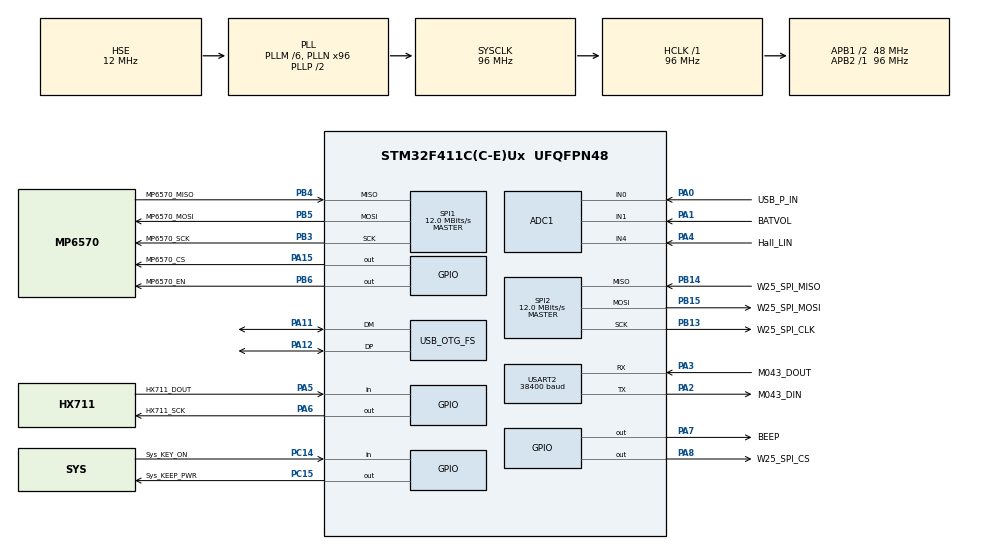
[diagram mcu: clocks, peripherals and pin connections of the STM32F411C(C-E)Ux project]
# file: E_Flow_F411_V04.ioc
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ADC1.Channel-0\#ChannelRegularConversion=ADC_CHANNEL_0
ADC1.Channel-1\#ChannelRegularConversion=ADC_CHANNEL_1
ADC1.Channel-2\#ChannelRegularConversion=ADC_CHANNEL_4
ADC1.ClockPrescaler=ADC_CLOCK_SYNC_PCLK_DIV4
ADC1.ContinuousConvMode=ENABLE
ADC1.NbrOfConversion=3
ADC1.NbrOfConversionFlag=1
ADC1.Rank-0\#ChannelRegularConversion=1
ADC1.Rank-1\#ChannelRegularConversion=2
ADC1.Rank-2\#ChannelRegularConversion=3
ADC1.SamplingTime-0\#ChannelRegularConversion=ADC_SAMPLETIME_480CYCLES
ADC1.SamplingTime-1\#ChannelRegularConversion=ADC_SAMPLETIME_480CYCLES
ADC1.SamplingTime-2\#ChannelRegularConversion=ADC_SAMPLETIME_480CYCLES
ADC1.ScanConvMode=ENABLE
ADC1.master=1
Dma.ADC1.0.Direction=DMA_PERIPH_TO_MEMORY
Dma.ADC1.0.FIFOMode=DMA_FIFOMODE_DISABLE
Dma.ADC1.0.Instance=DMA2_Stream0
Dma.ADC1.0.MemDataAlignment=DMA_MDATAALIGN_HALFWORD
Dma.ADC1.0.MemInc=DMA_MINC_ENABLE
Dma.ADC1.0.Mode=DMA_CIRCULAR
Dma.ADC1.0.PeriphDataAlignment=DMA_PDATAALIGN_HALFWORD
Dma.ADC1.0.PeriphInc=DMA_PINC_DISABLE
Dma.ADC1.0.Priority=DMA_PRIORITY_LOW
Dma.Request0=ADC1
Dma.Request1=USART2_TX
Dma.Request2=USART2_RX
Dma.USART2_RX.2.Direction=DMA_PERIPH_TO_MEMORY
Dma.USART2_RX.2.FIFOMode=DMA_FIFOMODE_DISABLE
Dma.USART2_RX.2.Instance=DMA1_Stream5
Dma.USART2_RX.2.MemDataAlignment=DMA_MDATAALIGN_BYTE
Dma.USART2_RX.2.MemInc=DMA_MINC_ENABLE
Dma.USART2_RX.2.Mode=DMA_NORMAL
Dma.USART2_RX.2.PeriphDataAlignment=DMA_PDATAALIGN_BYTE
Dma.USART2_RX.2.PeriphInc=DMA_PINC_DISABLE
Dma.USART2_RX.2.Priority=DMA_PRIORITY_MEDIUM
Dma.USART2_TX.1.Direction=DMA_MEMORY_TO_PERIPH
Dma.USART2_TX.1.FIFOMode=DMA_FIFOMODE_DISABLE
Dma.USART2_TX.1.Instance=DMA1_Stream6
Dma.USART2_TX.1.MemDataAlignment=DMA_MDATAALIGN_BYTE
Dma.USART2_TX.1.MemInc=DMA_MINC_ENABLE
Dma.USART2_TX.1.Mode=DMA_NORMAL
Dma.USART2_TX.1.PeriphDataAlignment=DMA_PDATAALIGN_BYTE
Dma.USART2_TX.1.PeriphInc=DMA_PINC_DISABLE
Dma.USART2_TX.1.Priority=DMA_PRIORITY_LOW
FREERTOS.MEMORY_ALLOCATION=0
FREERTOS.Tasks01=defaultTask,0,128,StartDefaultTask,Default,NULL,Dynamic,NULL,NULL
Mcu.Family=STM32F4
Mcu.Name=STM32F411C(C-E)Ux
Mcu.Package=UFQFPN48
NVIC.DMA1_Stream5_IRQn=true\:5\:0\:false\:false\:true\:true\:false\:true\:true
NVIC.DMA1_Stream6_IRQn=true\:5\:0\:false\:false\:true\:true\:false\:true\:true
NVIC.DMA2_Stream0_IRQn=true\:5\:0\:false\:false\:true\:true\:false\:true\:true
NVIC.OTG_FS_IRQn=true\:5\:0\:false\:false\:true\:true\:true\:true\:true
NVIC.PriorityGroup=NVIC_PRIORITYGROUP_4
NVIC.TIM1_UP_TIM10_IRQn=true\:0\:0\:true\:false\:true\:false\:false\:true\:true
NVIC.TIM2_IRQn=true\:5\:0\:false\:false\:true\:true\:true\:true\:true
NVIC.TimeBase=TIM1_UP_TIM10_IRQn
NVIC.TimeBaseIP=TIM1
NVIC.USART2_IRQn=true\:5\:0\:false\:false\:true\:true\:true\:true\:true
NVIC.WWDG_IRQn=true\:5\:0\:false\:false\:true\:true\:true\:true\:true
PA0-WKUP.GPIO_Label=USB_P_IN
PA0-WKUP.Signal=ADCx_IN0
PA1.GPIO_Label=BATVOL
PA1.Signal=ADCx_IN1
PA11.Mode=Device_Only
PA11.Signal=USB_OTG_FS_DM
PA12.Mode=Device_Only
PA12.Signal=USB_OTG_FS_DP
PA13.Mode=Serial_Wire
PA13.Signal=SYS_JTMS-SWDIO
PA14.Mode=Serial_Wire
PA14.Signal=SYS_JTCK-SWCLK
PA15.GPIO_Label=MP6570_CS
PA15.Signal=GPIO_Output
PA2.GPIO_Label=M043_DIN
PA2.Mode=Asynchronous
PA2.Signal=USART2_TX
PA3.GPIO_Label=M043_DOUT
PA3.Mode=Asynchronous
PA3.Signal=USART2_RX
PA4.GPIO_Label=Hall_LIN
PA4.Signal=ADCx_IN4
PA5.GPIO_Label=HX711_DOUT
PA5.Signal=GPIO_Input
PA6.GPIO_Label=HX711_SCK
PA6.Signal=GPIO_Output
PA7.GPIO_Label=BEEP
PA7.Signal=GPIO_Output
PA8.GPIO_Label=W25_SPI_CS
PA8.Signal=GPIO_Output
PB13.GPIO_Label=W25_SPI_CLK
PB13.Mode=Full_Duplex_Master
PB13.Signal=SPI2_SCK
PB14.GPIO_Label=W25_SPI_MISO
PB14.Mode=Full_Duplex_Master
PB14.Signal=SPI2_MISO
PB15.GPIO_Label=W25_SPI_MOSI
PB15.Mode=Full_Duplex_Master
PB15.Signal=SPI2_MOSI
PB3.GPIO_Label=MP6570_SCK
PB3.Mode=Full_Duplex_Master
PB3.Signal=SPI1_SCK
PB4.GPIO_Label=MP6570_MISO
PB4.Mode=Full_Duplex_Master
PB4.Signal=SPI1_MISO
PB5.GPIO_Label=MP6570_MOSI
PB5.Mode=Full_Duplex_Master
PB5.Signal=SPI1_MOSI
PB6.GPIO_Label=MP6570_EN
PB6.PinState=GPIO_PIN_SET
PB6.Signal=GPIO_Output
PC14-OSC32_IN.GPIO_Label=Sys_KEY_ON
PC14-OSC32_IN.Signal=GPIO_Input
PC15-OSC32_OUT.GPIO_Label=Sys_KEEP_PWR
PC15-OSC32_OUT.PinState=GPIO_PIN_SET
PC15-OSC32_OUT.Signal=GPIO_Output
PH0\ -\ OSC_IN.Mode=HSE-External-Oscillator
PH0\ -\ OSC_IN.Signal=RCC_OSC_IN
PH1\ -\ OSC_OUT.Mode=HSE-External-Oscillator
PH1\ -\ OSC_OUT.Signal=RCC_OSC_OUT
ProjectManager.HeapSize=0x4000
ProjectManager.StackSize=0x4000
ProjectManager.TargetToolchain=MDK-ARM V5.27
RCC.48MHZClocksFreq_Value=48000000
RCC.AHBFreq_Value=96000000
RCC.APB1CLKDivider=RCC_HCLK_DIV2
RCC.APB1Freq_Value=48000000
RCC.APB1TimFreq_Value=96000000
RCC.APB2Freq_Value=96000000
RCC.APB2TimFreq_Value=96000000
RCC.CortexFreq_Value=96000000
RCC.HCLKFreq_Value=96000000
RCC.HSE_VALUE=12000000
RCC.HSI_VALUE=16000000
RCC.LSE_VALUE=32768
RCC.PLLM=6
RCC.PLLN=96
RCC.SYSCLKFreq_VALUE=96000000
RCC.SYSCLKSource=RCC_SYSCLKSOURCE_PLLCLK
RCC.VCOOutputFreq_Value=192000000
SH.ADCx_IN0.0=ADC1_IN0,IN0
SH.ADCx_IN1.0=ADC1_IN1,IN1
SH.ADCx_IN4.0=ADC1_IN4,IN4
SPI1.BaudRatePrescaler=SPI_BAUDRATEPRESCALER_8
SPI1.CLKPhase=SPI_PHASE_2EDGE
SPI1.CLKPolarity=SPI_POLARITY_HIGH
SPI1.CalculateBaudRate=12.0 MBits/s
SPI1.Direction=SPI_DIRECTION_2LINES
SPI1.Mode=SPI_MODE_MASTER
SPI1.VirtualType=VM_MASTER
SPI2.BaudRatePrescaler=SPI_BAUDRATEPRESCALER_4
SPI2.CLKPhase=SPI_PHASE_2EDGE
SPI2.CLKPolarity=SPI_POLARITY_HIGH
SPI2.CalculateBaudRate=12.0 MBits/s
SPI2.Direction=SPI_DIRECTION_2LINES
SPI2.Mode=SPI_MODE_MASTER
SPI2.VirtualType=VM_MASTER
TIM2.Period=100
TIM2.Prescaler=95
USART2.BaudRate=38400
USART2.VirtualMode=VM_ASYNC
USB_DEVICE.CLASS_NAME_FS=CDC
USB_DEVICE.VirtualMode=Cdc
USB_DEVICE.VirtualModeFS=Cdc_FS
USB_OTG_FS.VirtualMode=Device_Only
VP_FREERTOS_VS_CMSIS_V1.Mode=CMSIS_V1
VP_SYS_VS_tim1.Mode=TIM1
VP_TIM2_VS_ClockSourceINT.Mode=Internal
VP_USB_DEVICE_VS_USB_DEVICE_CDC_FS.Mode=CDC_FS
VP_WWDG_VS_WWDG.Mode=WWDG_Activate
WWDG.Counter=127
WWDG.EWIMode=WWDG_EWI_ENABLE
WWDG.Prescaler=WWDG_PRESCALER_8
WWDG.Window=127
board=custom

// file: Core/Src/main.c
/* USER CODE BEGIN Header */
/**
  ******************************************************************************
  * @file           : main.c
  * @brief          : Main program body
  ******************************************************************************
  * @attention
  *
  * Copyright (c) 2022 STMicroelectronics.
  * All rights reserved.
  *
  * This software is licensed under terms that can be found in the LICENSE file
  * in the root directory of this software component.
  * If no LICENSE file comes with this software, it is provided AS-IS.
  *
  ******************************************************************************
  */
/* USER CODE END Header */
#include "main.h"
#include "cmsis_os.h"
#include "adc.h"
#include "dma.h"
#include "spi.h"
#include "tim.h"
#include "usart.h"
#include "usb_device.h"
#include "wwdg.h"
#include "gpio.h"

/* USER CODE BEGIN Includes */
#include "app_main.h"
/* USER CODE END Includes */

void SystemClock_Config(void);
void MX_FREERTOS_Init(void);

int main(void)
{
  /* USER CODE BEGIN 1 */
	Before_HAL_Init();
  /* USER CODE END 1 */

  /* MCU Configuration--------------------------------------------------------*/

  /* Reset of all peripherals, Initializes the Flash interface and the Systick. */
  HAL_Init();

  /* Configure the system clock */
  SystemClock_Config();

  /* Initialize all configured peripherals */
  MX_GPIO_Init();
  MX_DMA_Init();
  MX_ADC1_Init();
  MX_SPI1_Init();
  MX_SPI2_Init();
  MX_TIM2_Init();
  MX_USART2_UART_Init();
//  MX_WWDG_Init();
  /* USER CODE BEGIN 2 */
	app_init();
  /* USER CODE END 2 */

  /* Call init function for freertos objects (in freertos.c) */
  MX_FREERTOS_Init();

  /* Start scheduler */
  osKernelStart();

  /* We should never get here as control is now taken by the scheduler */
  /* Infinite loop */
  while (1)
  {

  }
}

void SystemClock_Config(void)
{
  RCC_OscInitTypeDef RCC_OscInitStruct = {0};
  RCC_ClkInitTypeDef RCC_ClkInitStruct = {0};

  /** Configure the main internal regulator output voltage
  */
  __HAL_RCC_PWR_CLK_ENABLE();
  __HAL_PWR_VOLTAGESCALING_CONFIG(PWR_REGULATOR_VOLTAGE_SCALE1);

  /** Initializes the RCC Oscillators according to the specified parameters
  * in the RCC_OscInitTypeDef structure.
  */
  RCC_OscInitStruct.OscillatorType = RCC_OSCILLATORTYPE_HSE;
  RCC_OscInitStruct.HSEState = RCC_HSE_ON;
  RCC_OscInitStruct.PLL.PLLState = RCC_PLL_ON;
  RCC_OscInitStruct.PLL.PLLSource = RCC_PLLSOURCE_HSE;
  RCC_OscInitStruct.PLL.PLLM = 6;
  RCC_OscInitStruct.PLL.PLLN = 96;
  RCC_OscInitStruct.PLL.PLLP = RCC_PLLP_DIV2;
  RCC_OscInitStruct.PLL.PLLQ = 4;
  if (HAL_RCC_OscConfig(&RCC_OscInitStruct) != HAL_OK)
  {
    Error_Handler();
  }

  /** Initializes the CPU, AHB and APB buses clocks
  */
  RCC_ClkInitStruct.ClockType = RCC_CLOCKTYPE_HCLK|RCC_CLOCKTYPE_SYSCLK
                              |RCC_CLOCKTYPE_PCLK1|RCC_CLOCKTYPE_PCLK2;
  RCC_ClkInitStruct.SYSCLKSource = RCC_SYSCLKSOURCE_PLLCLK;
  RCC_ClkInitStruct.AHBCLKDivider = RCC_SYSCLK_DIV1;
  RCC_ClkInitStruct.APB1CLKDivider = RCC_HCLK_DIV2;
  RCC_ClkInitStruct.APB2CLKDivider = RCC_HCLK_DIV1;

  if (HAL_RCC_ClockConfig(&RCC_ClkInitStruct, FLASH_LATENCY_3) != HAL_OK)
  {
    Error_Handler();
  }
}

void HAL_TIM_PeriodElapsedCallback(TIM_HandleTypeDef *htim)
{
  if (htim->Instance == TIM1) {
    HAL_IncTick();
  }
}

void Error_Handler(void)
{
  __disable_irq();
  while (1)
  {
  }
}

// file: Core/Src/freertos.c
/* USER CODE BEGIN Header */
/**
  ******************************************************************************
  * File Name          : freertos.c
  * Description        : Code for freertos applications
  ******************************************************************************
  * @attention
  *
  * Copyright (c) 2022 STMicroelectronics.
  * All rights reserved.
  *
  * This software is licensed under terms that can be found in the LICENSE file
  * in the root directory of this software component.
  * If no LICENSE file comes with this software, it is provided AS-IS.
  *
  ******************************************************************************
  */
/* USER CODE END Header */

#include "FreeRTOS.h"
#include "task.h"
#include "main.h"
#include "cmsis_os.h"

/* USER CODE BEGIN Includes */
#include "app_main.h"
/* USER CODE END Includes */

/* USER CODE BEGIN Variables */
osThreadId GetLcdTaskHandle;
osThreadId ModeHandle;
osThreadId SettingHandle;
osThreadId FactoryCalibHandle;
osThreadId FactoryAgingHandle;
osThreadId MotorHandle;
/* USER CODE END Variables */
osThreadId defaultTaskHandle;

/* USER CODE BEGIN FunctionPrototypes */
void StartGetLcdTask(void const * argument);
void StartMotorTask(void const * argument);
void StartSettingTask(void const * argument);
void StartFactoryCalibTask(void const * argument);
void StartFactoryAgingTask(void const * argument);
void StartModeTask(void const * argument);
/* USER CODE END FunctionPrototypes */

void StartDefaultTask(void const * argument);

extern void MX_USB_DEVICE_Init(void);
void MX_FREERTOS_Init(void); /* (MISRA C 2004 rule 8.1) */

void MX_FREERTOS_Init(void) {

  /* Create the thread(s) */
  /* definition and creation of defaultTask */
  osThreadDef(defaultTask, StartDefaultTask, osPriorityNormal, 0, 128);
  defaultTaskHandle = osThreadCreate(osThread(defaultTask), NULL);

  /* USER CODE BEGIN RTOS_THREADS */
  /* add threads, ... */
	osThreadDef(GetLcd, StartGetLcdTask, osPriorityHigh, 0, 512);
	GetLcdTaskHandle = osThreadCreate(osThread(GetLcd), NULL);					/*	1. 获取HMI指令	*/

	osThreadDef(Mode, StartModeTask, osPriorityAboveNormal, 0, 1024);
	ModeHandle  = osThreadCreate(osThread(Mode), NULL);							/*	2. 麻醉界面	*/

	osThreadDef(Settings, StartSettingTask, osPriorityNormal, 0, 256);
	SettingHandle  = osThreadCreate(osThread(Settings), NULL);					/*	3. 设置界面	*/

	osThreadDef(FactoryCalib, StartFactoryCalibTask, osPriorityNormal, 0, 256);
	FactoryCalibHandle  = osThreadCreate(osThread(FactoryCalib), NULL);			/*	4. 校正界面	*/

	osThreadDef(FactoryAging, StartFactoryAgingTask, osPriorityNormal, 0, 384);
	FactoryAgingHandle  = osThreadCreate(osThread(FactoryAging), NULL);			/*	5. 老化界面	*/

	osThreadDef(MotorController, StartMotorTask, osPriorityAboveNormal, 0, 256);
	MotorHandle = osThreadCreate(osThread(MotorController), NULL);				/*	6. 电机控制	*/
  /* USER CODE END RTOS_THREADS */

}

void StartDefaultTask(void const * argument)
{
  /* init code for USB_DEVICE */

  /* USER CODE BEGIN StartDefaultTask */
  /* Infinite loop */
	static uint8_t cnt = 0;
	for(;;){
		check_alarm_event();
		power_on_off_detect();				/*	开关机及充电检测	*/
		osDelay(150);
		if(++cnt == 100){
//			MX_WWDG_Init();
		}
	}
  /* USER CODE END StartDefaultTask */
}

/* USER CODE BEGIN Application */
/*	Task:  获取屏幕指令		*/
void StartGetLcdTask(void const * argument)
{
	for(;;){
		Analysis_LcdCmd();					/*	分析接收指令	*/
		check_sendBuf_and_sendBuf();		/*	检查发送缓冲区是否有指令等待发送	*/
		osDelay(50);
	}
}

/*	麻醉	*/
void StartModeTask(void const * argument)
{
	for(;;){
		page_mode();
		osDelay(100);
	}
}

/*	设置	*/
void StartSettingTask(void const * argument)
{
	for(;;){
		page_setting();
		osDelay(100);
	}
}

/*	校正	*/
void StartFactoryCalibTask(void const * argument)
{
	for(;;){
		page_calibration();
		osDelay(100);
	}
}
/*	老化	*/
void StartFactoryAgingTask(void const * argument)
{
	for(;;){
		page_aging();
		osDelay(100);
	}
}

/*	电机控制		*/
void StartMotorTask(void const * argument)
{
	for(;;){
		motor_controller();
		osDelay(100);
	}
}
/* USER CODE END Application */
